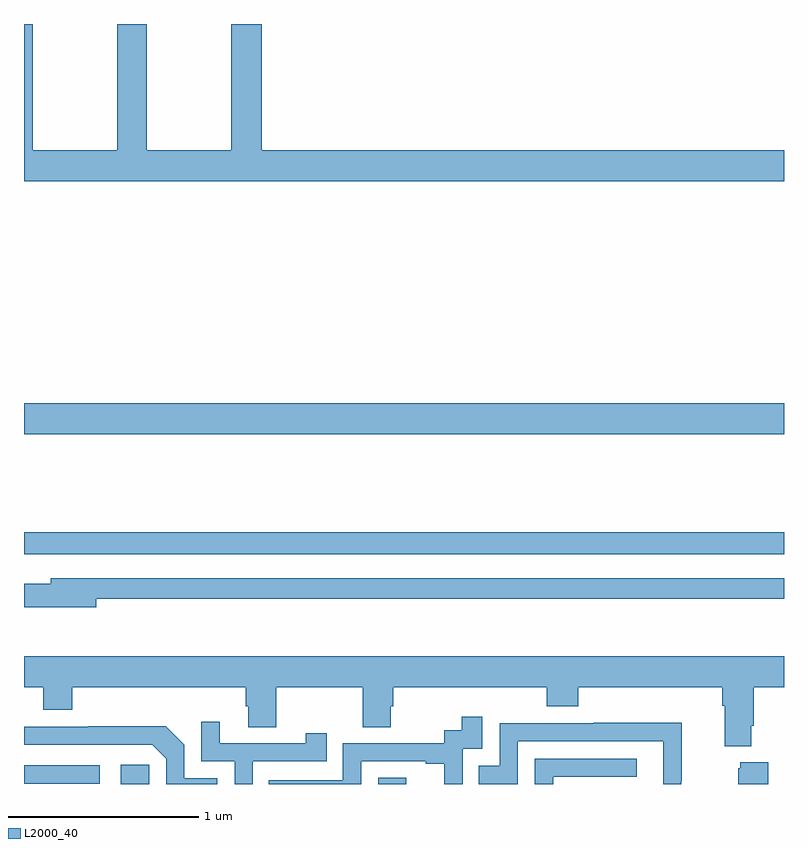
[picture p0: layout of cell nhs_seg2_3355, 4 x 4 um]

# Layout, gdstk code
import gdstk
lib = gdstk.Library(unit=1e-6, precision=1e-09)
def R(c, l, rs):  # rectangles x0, y0, x1, y1
    for r in rs: c.add(gdstk.rectangle(r[:2], r[2:], *l))
def P(c, l, *ps):  # polygons
    for p in ps: c.add(gdstk.Polygon(p, *l))
L2000_40 = (2000, 40)

nhs_seg2_3355 = lib.new_cell('nhs_seg2_3355')
R(nhs_seg2_3355, L2000_40, [(287.508,641.8,287.658,641.902), (288.864,641.8,289.012,641.833), (287,641.802,287.398,641.898), (287,643.008,291,643.124), (287,643.64,291,643.804)])
P(nhs_seg2_3355, L2000_40, [(291,645.136),(288.251,645.136),(288.251,645.8),(288.091,645.8),(288.091,645.136),(287.646,645.136),(287.646,645.8),(287.491,645.8),(287.491,645.136),(287.046,645.136),(287.046,645.8),(287,645.8),(287,644.972),(291,644.972)],
  [(287.38,642.774),(291,642.774),(291,642.882),(287.141,642.882),(287.141,642.853),(287,642.853),(287,642.731),(287.38,642.731)],
  [(287,642.308),(287.102,642.308),(287.102,642.191),(287.255,642.191),(287.255,642.308),(288.167,642.308),(288.167,642.21),(288.179,642.21),(288.179,642.1),(288.327,642.1),(288.327,642.308),(288.784,642.308),(288.784,642.1),(288.931,642.1),(288.931,642.21),(288.944,642.21),(288.944,642.308),(289.751,642.308),(289.751,642.209),(289.916,642.209),(289.916,642.308),(290.675,642.308),(290.675,642.212),(290.687,642.212),(290.687,641.999),(290.827,641.999),(290.827,642.106),(290.84,642.106),(290.84,642.308),(291,642.308),(291,642.472),(287,642.472)],
  [(288.774,641.919),(289.115,641.919),(289.115,641.907),(289.211,641.907),(289.211,641.8),(289.308,641.8),(289.308,641.985),(289.413,641.985),(289.413,642.154),(289.305,642.154),(289.305,642.084),(289.212,642.084),(289.212,642.015),(288.678,642.015),(288.678,641.82),(288.289,641.82),(288.289,641.8),(288.774,641.8)],
  [(288.204,641.919),(288.593,641.919),(288.593,642.067),(288.482,642.067),(288.482,642.015),(288.031,642.015),(288.031,642.127),(287.934,642.127),(287.934,641.919),(288.108,641.919),(288.108,641.8),(288.204,641.8)],
  [(289.599,642.024),(290.364,642.024),(290.364,641.8),(290.46,641.8),(290.46,641.815),(290.463,641.815),(290.463,642.122),(289.999,642.122),(289.999,642.12),(289.503,642.12),(289.503,641.895),(289.393,641.895),(289.393,641.8),(289.599,641.8)],
  [(288.018,641.829),(287.844,641.829),(287.844,642.006),(287.746,642.104),(287.338,642.104),(287.338,642.102),(287,642.102),(287,642.006),(287.676,642.006),(287.748,641.934),(287.748,641.8),(288.018,641.8)],
  [(289.785,641.838),(290.224,641.838),(290.224,641.934),(289.689,641.934),(289.689,641.8),(289.785,641.8)],
  [(290.917,641.914),(290.771,641.914),(290.771,641.883),(290.759,641.883),(290.759,641.8),(290.917,641.8)])

lib.write_gds('nhs_seg2_3355.gds')
